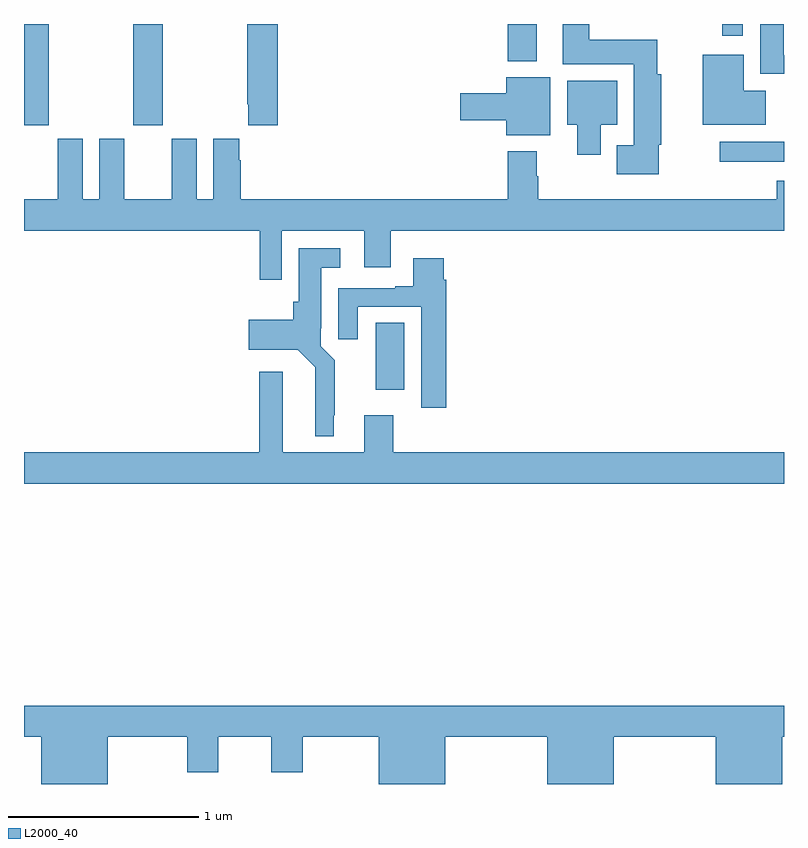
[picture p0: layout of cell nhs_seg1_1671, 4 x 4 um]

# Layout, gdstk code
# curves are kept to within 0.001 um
import gdstk
lib = gdstk.Library(unit=1e-6, precision=1e-09)
def R(c, l, rs):  # rectangles x0, y0, x1, y1
    for r in rs: c.add(gdstk.rectangle(r[:2], r[2:], *l))
def P(c, l, *ps):  # polygons
    for p in ps: c.add(gdstk.Polygon(p, *l))
L2000_40 = (2000, 40)

nhs_seg1_1671 = lib.new_cell('nhs_seg1_1671')
R(nhs_seg1_1671, L2000_40, [(204.851,504.273,205,504.626), (206.661,505.475,207,505.579), (203,505.665,203.13,506.199), (203.575,505.665,203.73,506.199), (205.547,506.003,205.699,506.199), (206.676,506.136,206.784,506.199)])
P(nhs_seg1_1671, L2000_40, [(204.335,506.199),(204.175,506.199),(204.175,505.777),(204.179,505.777),(204.179,505.665),(204.335,505.665)],
  [(207,506.034),(206.998,506.034),(206.998,506.199),(206.876,506.199),(206.876,505.938),(207,505.938)],
  [(206.34,505.563),(206.353,505.563),(206.353,505.935),(206.332,505.935),(206.332,506.116),(205.975,506.116),(205.975,506.199),(205.835,506.199),(205.835,505.988),(206.21,505.988),(206.21,505.561),(206.12,505.561),(206.12,505.409),(206.34,505.409)],
  [(206.905,505.849),(206.788,505.849),(206.788,506.038),(206.573,506.038),(206.573,505.67),(206.905,505.67)],
  [(205.771,505.918),(205.538,505.918),(205.538,505.835),(205.296,505.835),(205.296,505.693),(205.538,505.693),(205.538,505.613),(205.771,505.613)],
  [(206.035,505.67),(206.122,505.67),(206.122,505.9),(205.859,505.9),(205.859,505.67),(205.913,505.67),(205.913,505.512),(206.035,505.512)],
  [(204.357,505.112),(204.791,505.112),(204.791,504.918),(204.931,504.918),(204.931,505.112),(207,505.112),(207,505.375),(206.963,505.375),(206.963,505.276),(205.707,505.276),(205.707,505.397),(205.699,505.397),(205.699,505.528),(205.547,505.528),(205.547,505.276),(204.14,505.276),(204.14,505.481),(204.133,505.481),(204.133,505.594),(203.996,505.594),(203.996,505.276),(203.908,505.276),(203.908,505.594),(203.777,505.594),(203.777,505.276),(203.527,505.276),(203.527,505.594),(203.396,505.594),(203.396,505.276),(203.308,505.276),(203.308,505.594),(203.177,505.594),(203.177,505.276),(203,505.276),(203,505.112),(204.241,505.112),(204.241,504.852),(204.357,504.852)],
  [(204.631,504.139),(204.635,504.139),(204.635,504.43),(204.561,504.504),(204.561,504.598),(204.565,504.598),(204.565,504.917),(204.664,504.917),(204.664,505.018),(204.446,505.018),(204.446,504.738),(204.416,504.738),(204.416,504.643),(204.183,504.643),(204.183,504.485),(204.441,504.485),(204.534,504.392),(204.533,504.029),(204.631,504.029)],
  [(205.223,504.854),(205.21,504.854),(205.21,504.967),(205.049,504.967),(205.049,504.82),(204.953,504.82),(204.953,504.807),(204.653,504.807),(204.653,504.54),(204.757,504.54),(204.757,504.711),(205.091,504.711),(205.091,504.18),(205.223,504.18)],
  [(207,503.944),(204.944,503.944),(204.944,504.139),(204.791,504.139),(204.791,503.944),(204.361,503.944),(204.361,504.37),(204.239,504.37),(204.239,503.944),(203,503.944),(203,503.78),(207,503.78)],
  [(203.44,502.448),(203.858,502.448),(203.858,502.26),(204.022,502.26),(204.022,502.448),(204.302,502.448),(204.302,502.26),(204.466,502.26),(204.466,502.448),(204.866,502.448),(204.866,502.199),(205.216,502.199),(205.216,502.448),(205.754,502.448),(205.754,502.199),(206.104,502.199),(206.104,502.448),(206.642,502.448),(206.642,502.199),(206.992,502.199),(206.992,502.448),(207,502.448),(207,502.612),(203,502.612),(203,502.448),(203.09,502.448),(203.09,502.199),(203.44,502.199)])

lib.write_gds('nhs_seg1_1671.gds')
